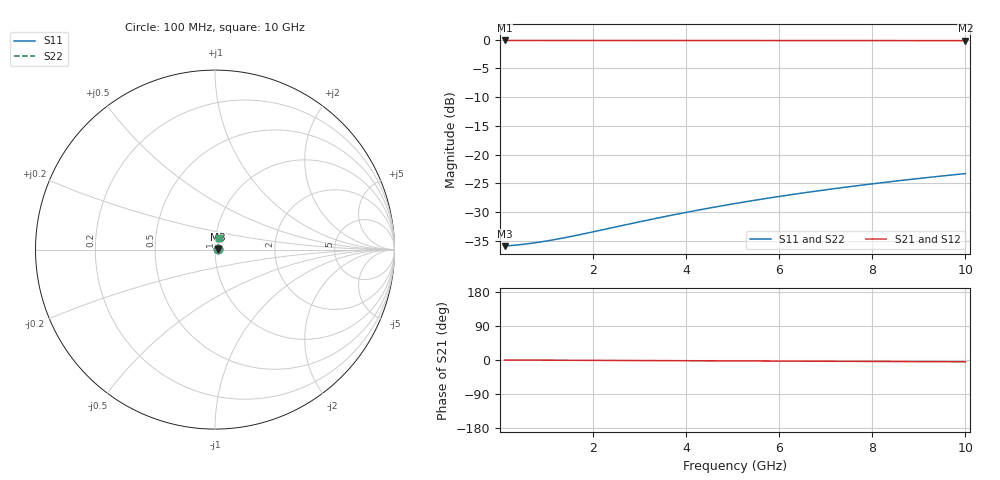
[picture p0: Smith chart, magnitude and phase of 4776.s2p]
# Hz S RI R 50.00
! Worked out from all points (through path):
!   100 points, 100 MHz to 10 GHz, reference 50 ohm
!   highest |S21| = -0.14 dB at 100 MHz (marker M1); lowest = -0.2 dB at 10 GHz (marker M2)
!   lowest |S11| = -35.9 dB at 100 MHz (marker M3), VSWR 1.03, Z = 51.6 + j0.0673 ohm
!   |S11| at or under -10 dB: start of sweep to end of sweep
!   |S22| runs from -35.9 to -23.3 dB; largest |S21 - S12| = 0
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1e8  0.016 0.000652  0.984 -0.000821  0.984 -0.000821  0.016 0.000652
5e8  0.0163 0.00326  0.9837 -0.0041  0.9837 -0.0041  0.0163 0.00326
7e8  0.0164 0.00456  0.9836 -0.00574  0.9836 -0.00574  0.0164 0.00456
9e8  0.0165 0.00586  0.9835 -0.00738  0.9835 -0.00738  0.0165 0.00586
1.1e9  0.0166 0.00716  0.9834 -0.00902  0.9834 -0.00902  0.0166 0.00716
1.3e9  0.0167 0.00846  0.9833 -0.0107  0.9833 -0.0107  0.0167 0.00846
1.5e9  0.0167 0.00976  0.9833 -0.0123  0.9833 -0.0123  0.0167 0.00976
1.8e9  0.0169 0.0117  0.9831 -0.0148  0.9831 -0.0148  0.0169 0.0117
2.9e9  0.0173 0.0189  0.9827 -0.0238  0.9827 -0.0238  0.0173 0.0189
3.4e9  0.0175 0.0221  0.9824 -0.0278  0.9824 -0.0278  0.0175 0.0221
3.9e9  0.0178 0.0253  0.9822 -0.0319  0.9822 -0.0319  0.0178 0.0253
4.3e9  0.018 0.0279  0.982 -0.0352  0.982 -0.0352  0.018 0.0279
4.7e9  0.0182 0.0305  0.9817 -0.0385  0.9817 -0.0385  0.0182 0.0305
5.1e9  0.0185 0.0331  0.9815 -0.0417  0.9815 -0.0417  0.0185 0.0331
5.5e9  0.0187 0.0357  0.9812 -0.045  0.9812 -0.045  0.0187 0.0357
5.9e9  0.019 0.0383  0.9809 -0.0483  0.9809 -0.0483  0.019 0.0383
6.3e9  0.0193 0.0409  0.9806 -0.0515  0.9806 -0.0515  0.0193 0.0409
6.7e9  0.0196 0.0434  0.9803 -0.0548  0.9803 -0.0548  0.0196 0.0434
7.5e9  0.0203 0.0486  0.9796 -0.0613  0.9796 -0.0613  0.0203 0.0486
8.4e9  0.0211 0.0544  0.9788 -0.0686  0.9788 -0.0686  0.0211 0.0544
9.2e9  0.0219 0.0595  0.9779 -0.0751  0.9779 -0.0751  0.0219 0.0595
1e10  0.0228 0.0646  0.977 -0.0815  0.977 -0.0815  0.0228 0.0646
